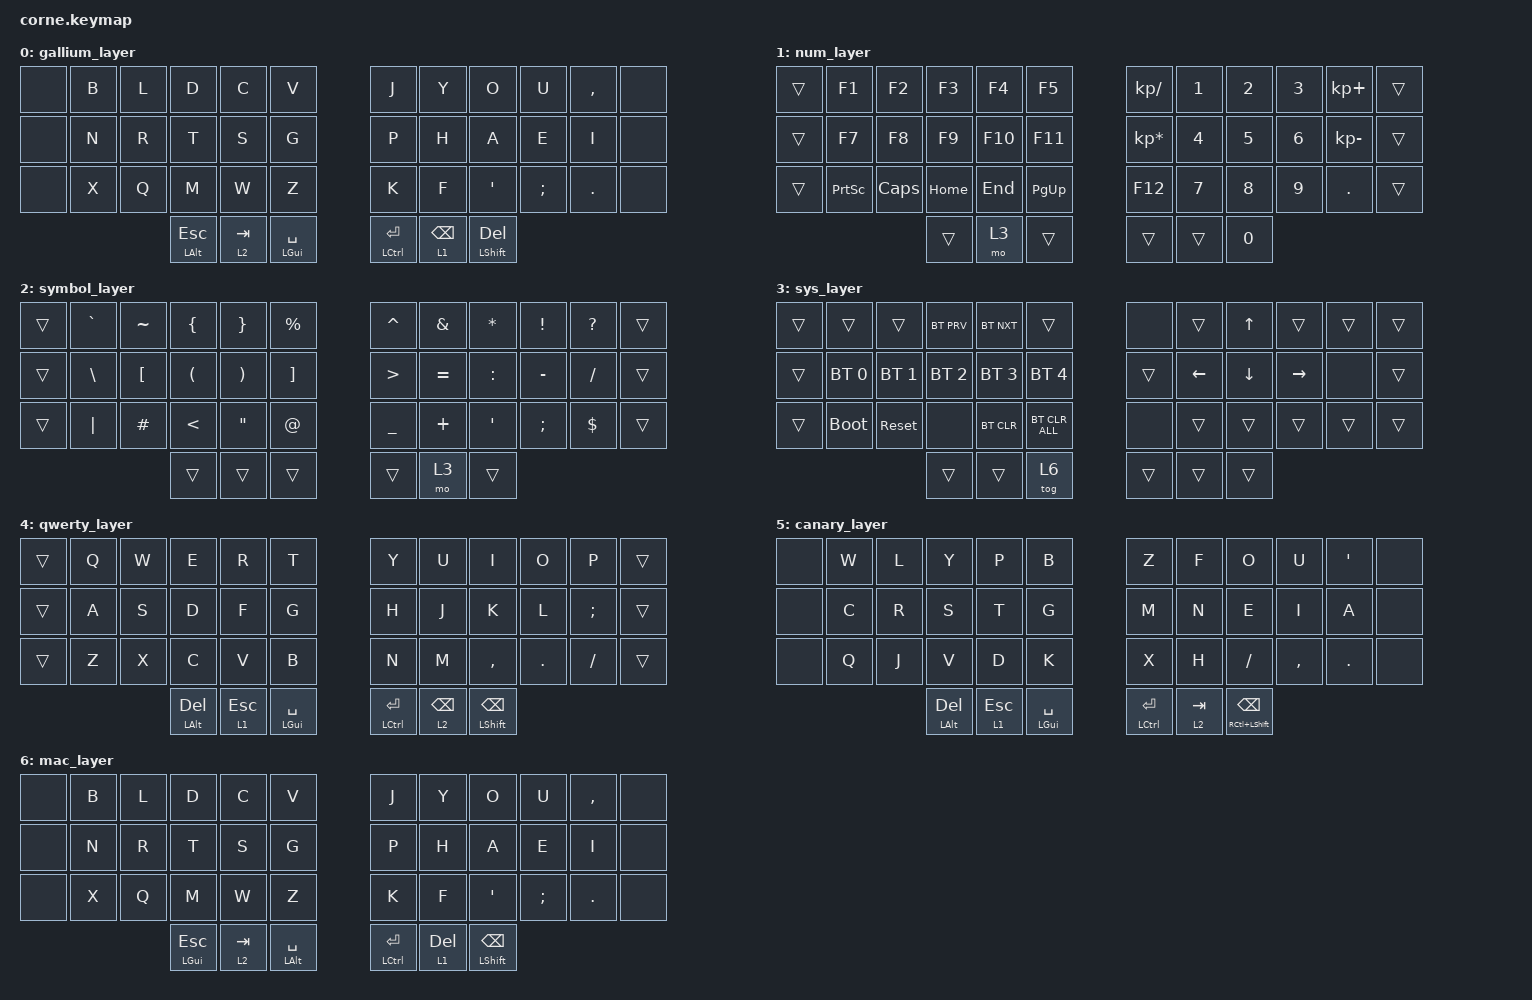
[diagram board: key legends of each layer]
/*
 * Copyright (c) 2020 The ZMK Contributors
 *
 * SPDX-License-Identifier: MIT
 */

#include <behaviors.dtsi>
#include <dt-bindings/zmk/bt.h>
#include <dt-bindings/zmk/keys.h>

// Optimize key repeat and debounce

&sk {
    release-after-ms = <2000>;
    quick-release;
};

&caps_word { continue-list = <UNDERSCORE MINUS BACKSPACE>; };

&mt {
    tapping-term-ms = <280>;
    quick-tap-ms = <200>;
    require-prior-idle-ms = <120>;
    flavor = "balanced";
};

&lt {
    tapping-term-ms = <200>;
    quick-tap-ms = <150>;
    require-prior-idle-ms = <100>;
};

/ {
    combos {
        compatible = "zmk,combos";

        combo_bksp {
            timeout-ms = <35>;
            key-positions = <10 9>;
            bindings = <&kp BACKSPACE>;
            require-prior-idle-ms = <100>;
        };

        combo_tab {
            bindings = <&kp TAB>;
            key-positions = <1 2>;
        };

        combo_shift {
            bindings = <&kp LEFT_SHIFT>;
            key-positions = <25 26>;
        };

        combo_delete {
            bindings = <&kp DELETE>;
            key-positions = <21 22>;
        };

        combo_rshift {
            bindings = <&kp RIGHT_SHIFT>;
            key-positions = <33 34>;
        };

        layout_switch {
            bindings = <&tog 4>;
            key-positions = <36 37 40 41>;
        };

        canary_switch {
            bindings = <&tog 5>;
            key-positions = <38 39 40 41>;
        };

        system_reset {
            bindings = <&sys_reset>;
            key-positions = <3 4 5>;
        };

        bootloader {
            bindings = <&bootloader>;
            key-positions = <15 16 17>;
        };

        system_layer_combo {
            bindings = <&mo 3>;
            key-positions = <36 37>;
        };

        undo_combo {
            bindings = <&kp LC(Z)>;
            key-positions = <25 26 27>;
            timeout-ms = <40>;
        };

        copy_combo {
            bindings = <&kp LC(C)>;
            key-positions = <26 27>;
            timeout-ms = <35>;
        };

        paste_combo {
            bindings = <&kp LC(V)>;
            key-positions = <27 28>;
            timeout-ms = <35>;
        };

        // Programming bigram combos from plan.md
        // Bracket pairs

        alt_right_combo {
            bindings = <&kp LEFT_ALT>;
            key-positions = <13 25>;
        };

        space_combo {
            bindings = <&kp SPACE>;
            key-positions = <30 31 32>;
        };
    };

    macros {
        macro_pluseq: macro_pluseq {
            compatible = "zmk,behavior-macro";
            #binding-cells = <0>;
            bindings = <&kp PLUS &kp EQUAL>;
        };

        macro_minuseq: macro_minuseq {
            compatible = "zmk,behavior-macro";
            #binding-cells = <0>;
            bindings = <&kp MINUS &kp EQUAL>;
        };

        macro_noteq: macro_noteq {
            compatible = "zmk,behavior-macro";
            #binding-cells = <0>;
            bindings = <&kp EXCLAMATION &kp EQUAL>;
        };

        macro_arrow: macro_arrow {
            compatible = "zmk,behavior-macro";
            #binding-cells = <0>;
            bindings = <&kp MINUS &kp GREATER_THAN>;
        };

        macro_fatarrow: macro_fatarrow {
            compatible = "zmk,behavior-macro";
            #binding-cells = <0>;
            bindings = <&kp EQUAL &kp GREATER_THAN>;
        };

        macro_parens: macro_parens {
            compatible = "zmk,behavior-macro";
            #binding-cells = <0>;
            bindings = <&kp LPAR &kp RPAR>;
        };

        macro_braces: macro_braces {
            compatible = "zmk,behavior-macro";
            #binding-cells = <0>;
            bindings = <&kp LBRC &kp RBRC>;
        };
    };

    conditional_layers { compatible = "zmk,conditional-layers"; };

    keymap {
        compatible = "zmk,keymap";

        gallium_layer {
            bindings = <
&none  &kp B  &kp L  &kp D         &kp C      &kp V             &kp J            &kp Y            &kp O                  &kp U          &kp COMMA   &none
&none  &kp N  &kp R  &kp T         &kp S      &kp G             &kp P            &kp H            &kp A                  &kp E          &kp I       &none
&none  &kp X  &kp Q  &kp M         &kp W      &kp Z             &kp K            &kp F            &kp SQT                &kp SEMICOLON  &kp PERIOD  &none
                     &mt LALT ESC  &lt 2 TAB  &mt LGUI SPACE    &mt LCTRL ENTER  &lt 1 BACKSPACE  &mt LSHIFT DELETE
            >;
        };

        num_layer {
            bindings = <
&trans  &kp F1     &kp F2    &kp F3    &kp F4   &kp F5       &kp KP_DIVIDE    &kp N1  &kp N2  &kp N3  &kp KP_PLUS   &trans
&trans  &kp F7     &kp F8    &kp F9    &kp F10  &kp F11      &kp KP_MULTIPLY  &kp N4  &kp N5  &kp N6  &kp KP_MINUS  &trans
&trans  &kp PSCRN  &kp CAPS  &kp HOME  &kp END  &kp PG_UP    &kp F12          &kp N7  &kp N8  &kp N9  &kp DOT       &trans
                             &trans    &mo 3    &trans       &trans           &trans  &kp N0
            >;
        };

        symbol_layer {
            bindings = <
&trans  &kp GRAVE  &kp TILDE  &kp LBRC  &kp RBRC  &kp PERCENT    &kp CARET  &kp AMPS   &kp ASTERISK  &kp EXCLAMATION  &kp QUESTION  &trans
&trans  &kp BSLH   &kp LBKT   &kp LPAR  &kp RPAR  &kp RBKT       &kp GT     &kp EQUAL  &kp COLON     &kp MINUS        &kp FSLH      &trans
&trans  &kp PIPE   &kp HASH   &kp LT    &kp DQT   &kp AT_SIGN    &kp UNDER  &kp PLUS   &kp SQT       &kp SEMI         &kp DOLLAR    &trans
                              &trans    &trans    &trans         &trans     &mo 3      &trans
            >;
        };

        sys_layer {
            bindings = <
&trans  &trans        &trans        &bt BT_PRV    &bt BT_NXT    &trans            &none   &trans    &kp UP    &trans     &trans  &trans
&trans  &bt BT_SEL 0  &bt BT_SEL 1  &bt BT_SEL 2  &bt BT_SEL 3  &bt BT_SEL 4      &trans  &kp LEFT  &kp DOWN  &kp RIGHT  &none   &trans
&trans  &bootloader   &sys_reset    &none         &bt BT_CLR    &bt BT_CLR_ALL    &none   &trans    &trans    &trans     &trans  &trans
                                    &trans        &trans        &tog 6            &trans  &trans    &trans
            >;
        };

        qwerty_layer {
            bindings = <
&trans  &kp Q  &kp W  &kp E             &kp R         &kp T                 &kp Y            &kp U            &kp I                &kp O    &kp P     &trans
&trans  &kp A  &kp S  &kp D             &kp F         &kp G                 &kp H            &kp J            &kp K                &kp L    &kp SEMI  &trans
&trans  &kp Z  &kp X  &kp C             &kp V         &kp B                 &kp N            &kp M            &kp COMMA            &kp DOT  &kp FSLH  &trans
                      &mt LEFT_ALT DEL  &lt 1 ESCAPE  &mt LEFT_GUI SPACE    &mt LCTRL ENTER  &lt 2 BACKSPACE  &mt LSHFT BACKSPACE
            >;
        };

        canary_layer {
            bindings = <
&none  &kp W  &kp L  &kp Y         &kp P         &kp B                 &kp Z            &kp F      &kp O                     &kp U      &kp SQT     &none
&none  &kp C  &kp R  &kp S         &kp T         &kp G                 &kp M            &kp N      &kp E                     &kp I      &kp A       &none
&none  &kp Q  &kp J  &kp V         &kp D         &kp K                 &kp X            &kp H      &kp SLASH                 &kp COMMA  &kp PERIOD  &none
                     &mt LALT DEL  &lt 1 ESCAPE  &mt LEFT_GUI SPACE    &mt LCTRL ENTER  &lt 2 TAB  &mt RC(LSHIFT) BACKSPACE
            >;
        };

        mac_layer {
            bindings = <
&none  &kp B  &kp L  &kp D         &kp C      &kp V             &kp J            &kp Y      &kp O                 &kp U          &kp COMMA   &none
&none  &kp N  &kp R  &kp T         &kp S      &kp G             &kp P            &kp H      &kp A                 &kp E          &kp I       &none
&none  &kp X  &kp Q  &kp M         &kp W      &kp Z             &kp K            &kp F      &kp SQT               &kp SEMICOLON  &kp PERIOD  &none
                     &mt LGUI ESC  &lt 2 TAB  &mt LALT SPACE    &mt LCTRL ENTER  &lt 1 DEL  &mt LSHIFT BACKSPACE
            >;
        };
    };
};
